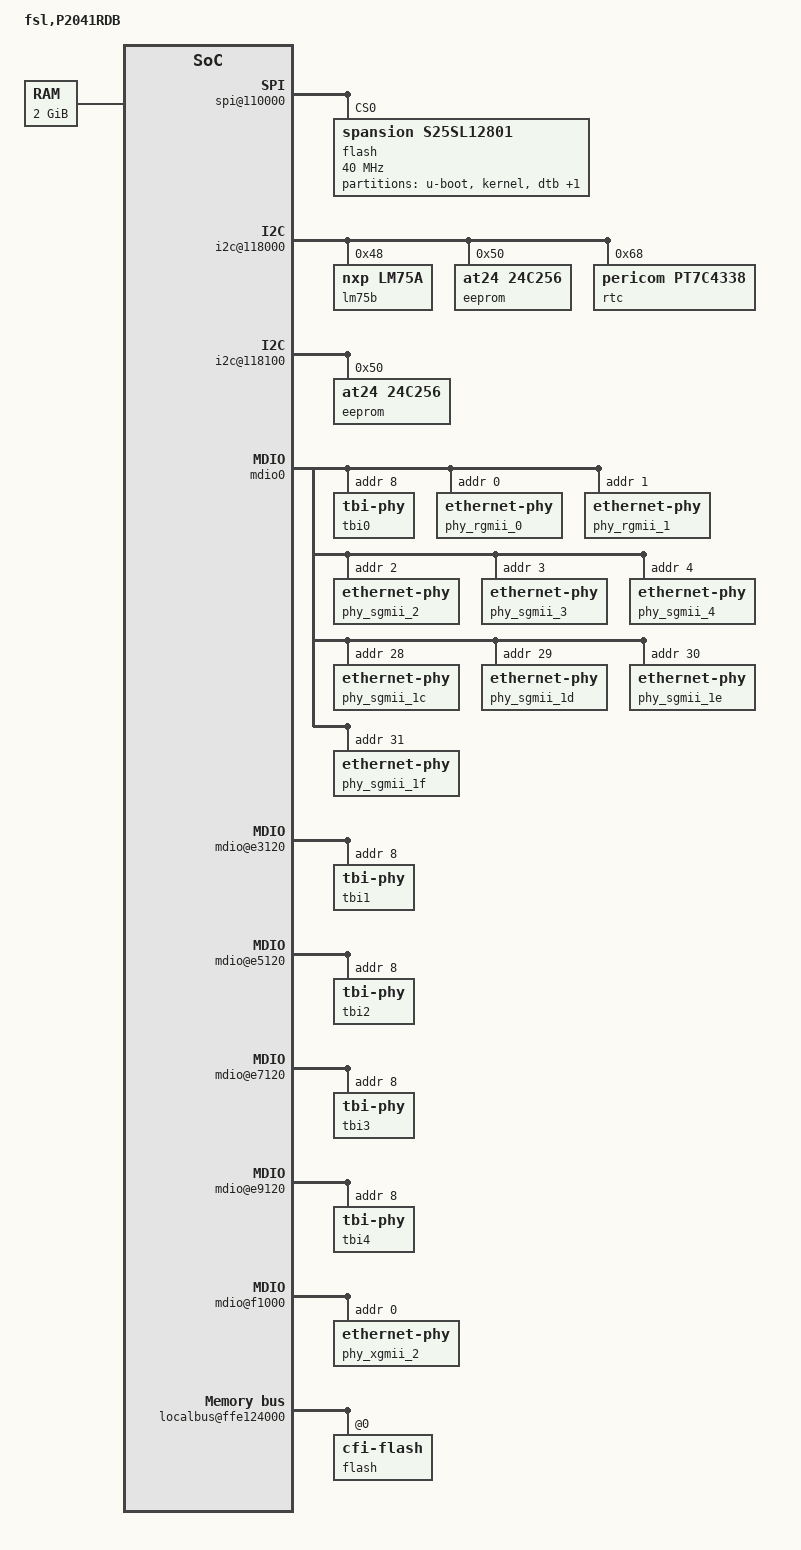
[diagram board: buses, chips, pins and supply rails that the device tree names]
/*
 * P2041RDB Device Tree Source
 *
 * Copyright 2011 Freescale Semiconductor Inc.
 *
 * Redistribution and use in source and binary forms, with or without
 * modification, are permitted provided that the following conditions are met:
 *     * Redistributions of source code must retain the above copyright
 *       notice, this list of conditions and the following disclaimer.
 *     * Redistributions in binary form must reproduce the above copyright
 *       notice, this list of conditions and the following disclaimer in the
 *       documentation and/or other materials provided with the distribution.
 *     * Neither the name of Freescale Semiconductor nor the
 *       names of its contributors may be used to endorse or promote products
 *       derived from this software without specific prior written permission.
 *
 *
 * ALTERNATIVELY, this software may be distributed under the terms of the
 * GNU General Public License ("GPL") as published by the Free Software
 * Foundation, either version 2 of that License or (at your option) any
 * later version.
 *
 * THIS SOFTWARE IS PROVIDED BY Freescale Semiconductor ``AS IS'' AND ANY
 * EXPRESS OR IMPLIED WARRANTIES, INCLUDING, BUT NOT LIMITED TO, THE IMPLIED
 * WARRANTIES OF MERCHANTABILITY AND FITNESS FOR A PARTICULAR PURPOSE ARE
 * DISCLAIMED. IN NO EVENT SHALL Freescale Semiconductor BE LIABLE FOR ANY
 * DIRECT, INDIRECT, INCIDENTAL, SPECIAL, EXEMPLARY, OR CONSEQUENTIAL DAMAGES
 * (INCLUDING, BUT NOT LIMITED TO, PROCUREMENT OF SUBSTITUTE GOODS OR SERVICES;
 * LOSS OF USE, DATA, OR PROFITS; OR BUSINESS INTERRUPTION) HOWEVER CAUSED AND
 * ON ANY THEORY OF LIABILITY, WHETHER IN CONTRACT, STRICT LIABILITY, OR TORT
 * (INCLUDING NEGLIGENCE OR OTHERWISE) ARISING IN ANY WAY OUT OF THE USE OF THIS
 * SOFTWARE, EVEN IF ADVISED OF THE POSSIBILITY OF SUCH DAMAGE.
 */
/* $FreeBSD$ */

/include/ "p2041si.dtsi"

/ {
	model = "fsl,P2041RDB";
	compatible = "fsl,P2041RDB";
	#address-cells = <2>;
	#size-cells = <2>;
	interrupt-parent = <&mpic>;

	aliases {
		phy_rgmii_0 = &phy_rgmii_0;
		phy_rgmii_1 = &phy_rgmii_1;
		phy_sgmii_2 = &phy_sgmii_2;
		phy_sgmii_3 = &phy_sgmii_3;
		phy_sgmii_4 = &phy_sgmii_4;
		phy_sgmii_1c = &phy_sgmii_1c;
		phy_sgmii_1d = &phy_sgmii_1d;
		phy_sgmii_1e = &phy_sgmii_1e;
		phy_sgmii_1f = &phy_sgmii_1f;
		phy_xgmii_2 = &phy_xgmii_2;
	};

	memory {
		device_type = "memory";
		reg = <0x00000000 0x00000000 0x00000000 0x80000000>;
	};

	dcsr: dcsr@f00000000 {
		ranges = <0x00000000 0xf 0x00000000 0x01008000>;
	};

	bman-portals@ff4000000 {
		bman-portal@0 {
			cpu-handle = <&cpu0>;
		};
		bman-portal@4000 {
			cpu-handle = <&cpu1>;
		};
		bman-portal@8000 {
			cpu-handle = <&cpu2>;
		};
		bman-portal@c000 {
			cpu-handle = <&cpu3>;
		};
		bman-portal@10000 {
		};
		bman-portal@14000 {
		};
		bman-portal@18000 {
		};
		bman-portal@1c000 {
		};
		bman-portal@20000 {
		};
		bman-portal@24000 {
		};

		buffer-pool@0 {
			compatible = "fsl,p2041-bpool", "fsl,bpool";
			fsl,bpid = <0>;
			fsl,bpool-cfg = <0 0x100 0 1 0 0x100>;
		};
	};

	qman-portals@ff4200000 {
		qportal0: qman-portal@0 {
			cpu-handle = <&cpu0>;
			fsl,qman-pool-channels = <&qpool1 &qpool2 &qpool3
						  &qpool4 &qpool5 &qpool6
						  &qpool7 &qpool8 &qpool9
						  &qpool10 &qpool11 &qpool12
						  &qpool13 &qpool14 &qpool15>;
		};

		qportal1: qman-portal@4000 {
			cpu-handle = <&cpu1>;
			fsl,qman-pool-channels = <&qpool1 &qpool2 &qpool3
						  &qpool4 &qpool5 &qpool6
						  &qpool7 &qpool8 &qpool9
						  &qpool10 &qpool11 &qpool12
						  &qpool13 &qpool14 &qpool15>;
		};

		qportal2: qman-portal@8000 {
			cpu-handle = <&cpu2>;
			fsl,qman-pool-channels = <&qpool1 &qpool2 &qpool3
						  &qpool4 &qpool5 &qpool6
						  &qpool7 &qpool8 &qpool9
						  &qpool10 &qpool11 &qpool12
						  &qpool13 &qpool14 &qpool15>;
		};

		qportal3: qman-portal@c000 {
			cpu-handle = <&cpu3>;
			fsl,qman-pool-channels = <&qpool1 &qpool2 &qpool3
						  &qpool4 &qpool5 &qpool6
						  &qpool7 &qpool8 &qpool9
						  &qpool10 &qpool11 &qpool12
						  &qpool13 &qpool14 &qpool15>;
		};

		qportal4: qman-portal@10000 {
			fsl,qman-pool-channels = <&qpool1 &qpool2 &qpool3
						  &qpool4 &qpool5 &qpool6
						  &qpool7 &qpool8 &qpool9
						  &qpool10 &qpool11 &qpool12
						  &qpool13 &qpool14 &qpool15>;
		};

		qportal5: qman-portal@14000 {
			fsl,qman-pool-channels = <&qpool1 &qpool2 &qpool3
						  &qpool4 &qpool5 &qpool6
						  &qpool7 &qpool8 &qpool9
						  &qpool10 &qpool11 &qpool12
						  &qpool13 &qpool14 &qpool15>;
		};

		qportal6: qman-portal@18000 {
			fsl,qman-pool-channels = <&qpool1 &qpool2 &qpool3
						  &qpool4 &qpool5 &qpool6
						  &qpool7 &qpool8 &qpool9
						  &qpool10 &qpool11 &qpool12
						  &qpool13 &qpool14 &qpool15>;
		};

		qportal7: qman-portal@1c000 {
			fsl,qman-pool-channels = <&qpool1 &qpool2 &qpool3
						  &qpool4 &qpool5 &qpool6
						  &qpool7 &qpool8 &qpool9
						  &qpool10 &qpool11 &qpool12
						  &qpool13 &qpool14 &qpool15>;
		};

		qportal8: qman-portal@20000 {
			fsl,qman-pool-channels = <&qpool1 &qpool2 &qpool3
						  &qpool4 &qpool5 &qpool6
						  &qpool7 &qpool8 &qpool9
						  &qpool10 &qpool11 &qpool12
						  &qpool13 &qpool14 &qpool15>;
		};

		qportal9: qman-portal@24000 {
			fsl,qman-pool-channels = <&qpool1 &qpool2 &qpool3
						  &qpool4 &qpool5 &qpool6
						  &qpool7 &qpool8 &qpool9
						  &qpool10 &qpool11 &qpool12
						  &qpool13 &qpool14 &qpool15>;
		};
	};

	soc: soc@ffe000000 {
		spi@110000 {
			flash@0 {
				#address-cells = <1>;
				#size-cells = <1>;
				compatible = "spansion,s25sl12801";
				reg = <0>;
				spi-max-frequency = <40000000>; /* input clock */
				partition@u-boot {
					label = "u-boot";
					reg = <0x00000000 0x00100000>;
					read-only;
				};
				partition@kernel {
					label = "kernel";
					reg = <0x00100000 0x00500000>;
					read-only;
				};
				partition@dtb {
					label = "dtb";
					reg = <0x00600000 0x00100000>;
					read-only;
				};
				partition@fs {
					label = "file system";
					reg = <0x00700000 0x00900000>;
				};
			};
		};

		i2c@118000 {
			lm75b@48 {
				compatible = "nxp,lm75a";
				reg = <0x48>;
			};
			eeprom@50 {
				compatible = "at24,24c256";
				reg = <0x50>;
			};
			rtc@68 {
				compatible = "pericom,pt7c4338";
				reg = <0x68>;
			};
		};

		i2c@118100 {
			eeprom@50 {
				compatible = "at24,24c256";
				reg = <0x50>;
			};
		};

		usb1: usb@211000 {
			dr_mode = "host";
		};

		pme: pme@316000 {
			/* Commented out, use default allocation */
			/* fsl,pme-pdsr = <0x0 0x23000000 0x0 0x01000000>; */
			/* fsl,pme-sre = <0x0 0x24000000 0x0 0x00a00000>; */
		};

		qman: qman@318000 {
			/* Commented out, use default allocation */
			/* fsl,qman-fqd = <0x0 0x20000000 0x0 0x01000000>; */
			/* fsl,qman-pfdr = <0x0 0x21000000 0x0 0x01000000>; */
		};

		bman: bman@31a000 {
			/* Same as fsl,qman-*, use default allocation */
			/* fsl,bman-fbpr = <0x0 0x22000000 0x0 0x01000000>; */
		};

		fman0: fman@400000 {
			enet0: ethernet@e0000 {
				tbi-handle = <&tbi0>;
				phy-handle = <&phy_sgmii_2>;
				phy-connection-type = "sgmii";
			};

			mdio0: mdio@e1120 {
				tbi0: tbi-phy@8 {
					reg = <0x8>;
					device_type = "tbi-phy";
				};

				phy_rgmii_0: ethernet-phy@0 {
					reg = <0x0>;
				};
				phy_rgmii_1: ethernet-phy@1 {
					reg = <0x1>;
				};
				phy_sgmii_2: ethernet-phy@2 {
					reg = <0x2>;
				};
				phy_sgmii_3: ethernet-phy@3 {
					reg = <0x3>;
				};
				phy_sgmii_4: ethernet-phy@4 {
					reg = <0x4>;
				};
				phy_sgmii_1c: ethernet-phy@1c {
					reg = <0x1c>;
				};
				phy_sgmii_1d: ethernet-phy@1d {
					reg = <0x1d>;
				};
				phy_sgmii_1e: ethernet-phy@1e {
					reg = <0x1e>;
				};
				phy_sgmii_1f: ethernet-phy@1f {
					reg = <0x1f>;
				};
			};

			enet1: ethernet@e2000 {
				tbi-handle = <&tbi1>;
				phy-handle = <&phy_sgmii_3>;
				phy-connection-type = "sgmii";
			};

			mdio@e3120 {
				tbi1: tbi-phy@8 {
					reg = <8>;
					device_type = "tbi-phy";
				};
			};

			enet2: ethernet@e4000 {
				tbi-handle = <&tbi2>;
				phy-handle = <&phy_sgmii_4>;
				phy-connection-type = "sgmii";
			};

			mdio@e5120 {
				tbi2: tbi-phy@8 {
					reg = <8>;
					device_type = "tbi-phy";
				};
			};

			enet3: ethernet@e6000 {
				tbi-handle = <&tbi3>;
				phy-handle = <&phy_rgmii_1>;
				phy-connection-type = "rgmii";
			};

			mdio@e7120 {
				tbi3: tbi-phy@8 {
					reg = <8>;
					device_type = "tbi-phy";
				};
			};

			enet4: ethernet@e8000 {
				tbi-handle = <&tbi4>;
				phy-handle = <&phy_rgmii_0>;
				phy-connection-type = "rgmii";
			};

			mdio@e9120 {
				tbi4: tbi-phy@8 {
					reg = <8>;
					device_type = "tbi-phy";
				};
			};

			enet5: ethernet@f0000 {
				/*
				 * phy-handle will be updated by U-Boot to
				 * reflect the actual slot the XAUI card is in.
				 */
				phy-handle = <&phy_xgmii_2>;
				phy-connection-type = "xgmii";
			};

			mdio@f1000 {
				/* XAUI card in slot 2 */
				phy_xgmii_2: ethernet-phy@0 {
					reg = <0x0>;
				};
			};
		};
	};

	rapidio@ffe0c0000 {
		reg = <0xf 0xfe0c0000 0 0x11000>;

		port1 {
			ranges = <0 0 0xc 0x20000000 0 0x10000000>;
		};
		port2 {
			ranges = <0 0 0xc 0x30000000 0 0x10000000>;
		};
	};

	localbus@ffe124000 {
		reg = <0xf 0xfe124000 0 0x1000>;
		ranges = <0 0 0xf 0xb8000000 0x04000000>;

		flash@0,0 {
			compatible = "cfi-flash";
			/*
                         * Map 64Mb of 128MB NOR flash memory. Since highest
                         * line of address of NOR flash memory are set by
                         * FPGA, memory are divided into two pages equal to
                         * 64MB. One of the pages can be accessed at once.
                         */
			reg = <0 0 0x04000000>;
			bank-width = <2>;
			device-width = <2>;
		};
	};

	pci0: pcie@ffe200000 {
		reg = <0xf 0xfe200000 0 0x1000>;
		ranges = <0x02000000 0 0x80000000 0x0 0x80000000 0x0 0x10000000
			  0x01000000 0 0x00000000 0x0 0xff000000 0x0 0x00010000>;
		pcie@0 {
			ranges = <0x02000000 0 0x80000000
				  0x02000000 0 0x80000000
				  0 0x10000000

				  0x01000000 0 0x00000000
				  0x01000000 0 0xff000000
				  0 0x00010000>;
		};
	};

	pci1: pcie@ffe201000 {
		reg = <0xf 0xfe201000 0 0x1000>;
		ranges = <0x02000000 0x0 0x90000000 0x0 0x90000000 0x0 0x10000000
			  0x01000000 0x0 0x00000000 0x0 0xff010000 0x0 0x00010000>;
		pcie@0 {
			ranges = <0x02000000 0 0x90000000
				  0x02000000 0 0x90000000
				  0 0x10000000

				  0x01000000 0 0x00000000
				  0x01000000 0 0xff010000
				  0 0x00010000>;
		};
	};

	pci2: pcie@ffe202000 {
		reg = <0xf 0xfe202000 0 0x1000>;
		ranges = <0x02000000 0 0xa0000000 0x0 0xa0000000 0 0x10000000
			  0x01000000 0 0x00000000 0x0 0xff020000 0 0x00010000>;
		pcie@0 {
			ranges = <0x02000000 0 0xa0000000
				  0x02000000 0 0xa0000000
				  0 0x10000000

				  0x01000000 0 0x00000000
				  0x01000000 0 0xff020000
				  0 0x00010000>;
		};
	};

	chosen {
		stdin = "serial0";
		stdout = "serial0";
	};
};
